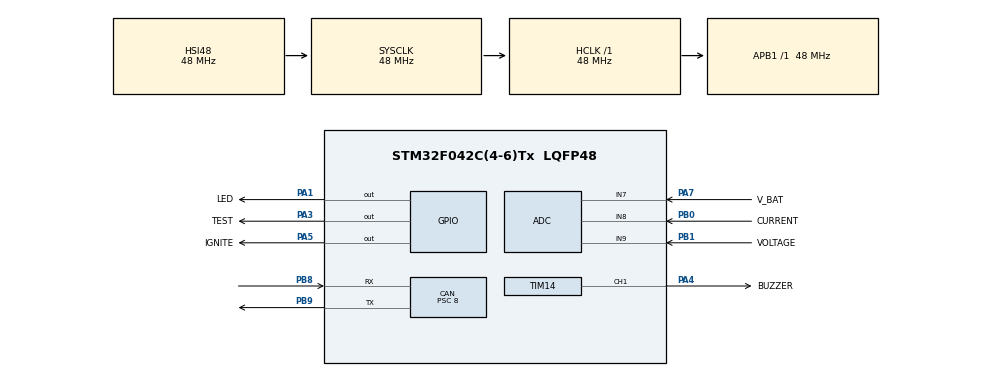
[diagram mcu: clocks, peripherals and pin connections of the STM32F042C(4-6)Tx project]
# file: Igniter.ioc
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ADC.ClockPrescaler=ADC_CLOCK_ASYNC_DIV1
ADC.ContinuousConvMode=ENABLE
ADC.DMAContinuousRequests=ENABLE
ADC.SamplingTime=ADC_SAMPLETIME_1CYCLE_5
CAN.BS1=CAN_BS1_4TQ
CAN.CalculateBaudRate=1000000
CAN.CalculateTimeBit=1000
CAN.CalculateTimeQuantum=166.66666666666666
CAN.Prescaler=8
Dma.ADC.0.Direction=DMA_PERIPH_TO_MEMORY
Dma.ADC.0.Instance=DMA1_Channel1
Dma.ADC.0.MemDataAlignment=DMA_MDATAALIGN_HALFWORD
Dma.ADC.0.MemInc=DMA_MINC_ENABLE
Dma.ADC.0.Mode=DMA_CIRCULAR
Dma.ADC.0.PeriphDataAlignment=DMA_PDATAALIGN_HALFWORD
Dma.ADC.0.PeriphInc=DMA_PINC_DISABLE
Dma.ADC.0.Priority=DMA_PRIORITY_LOW
Dma.Request0=ADC
IWDG.Prescaler=IWDG_PRESCALER_16
IWDG.Reload=4095
IWDG.Window=4095
Mcu.Family=STM32F0
Mcu.Name=STM32F042C(4-6)Tx
Mcu.Package=LQFP48
NVIC.CEC_CAN_IRQn=true\:1\:0\:true\:false\:true\:true\:true\:true
NVIC.DMA1_Channel1_IRQn=true\:1\:0\:true\:false\:true\:false\:true\:true
NVIC.TIM14_IRQn=true\:3\:0\:true\:false\:true\:true\:true\:true
NVIC.TIM2_IRQn=true\:3\:0\:true\:false\:true\:true\:true\:true
PA1.GPIO_Label=LED
PA1.Signal=GPIO_Output
PA3.GPIO_Label=TEST
PA3.Signal=GPIO_Output
PA4.GPIO_Label=BUZZER
PA4.Signal=S_TIM14_CH1
PA5.GPIO_Label=IGNITE
PA5.Signal=GPIO_Output
PA7.GPIO_Label=V_BAT
PA7.Mode=IN7
PA7.Signal=ADC_IN7
PB0.GPIO_Label=CURRENT
PB0.Mode=IN8
PB0.Signal=ADC_IN8
PB1.GPIO_Label=VOLTAGE
PB1.Mode=IN9
PB1.Signal=ADC_IN9
PB8.Mode=CAN_Activate
PB8.Signal=CAN_RX
PB9.Mode=CAN_Activate
PB9.Signal=CAN_TX
ProjectManager.HeapSize=0x200
ProjectManager.StackSize=0x400
ProjectManager.TargetToolchain=STM32CubeIDE
RCC.AHBFreq_Value=48000000
RCC.APB1Freq_Value=48000000
RCC.APB1TimFreq_Value=48000000
RCC.HCLKFreq_Value=48000000
RCC.SYSCLKFreq_VALUE=48000000
RCC.SYSCLKSource=RCC_SYSCLKSOURCE_HSI48
SH.S_TIM14_CH1.0=TIM14_CH1,PWM Generation1 CH1
TIM14.Channel=TIM_CHANNEL_1
TIM14.OC1Preload_PWM=DISABLE
TIM14.Period=2-1
TIM14.Prescaler=48000-1
TIM2.Period=100
TIM2.Prescaler=48000-1
VP_IWDG_VS_IWDG.Mode=IWDG_Activate
VP_TIM14_VS_ClockSourceINT.Mode=Enable_Timer
VP_TIM2_VS_ClockSourceINT.Mode=Internal
board=custom

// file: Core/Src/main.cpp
/* USER CODE BEGIN Header */
/**
  ******************************************************************************
  * @file           : main.c
  * @brief          : Main program body
  ******************************************************************************
  * @attention
  *
  * <h2><center>&copy; Copyright (c) 2020 STMicroelectronics.
  * All rights reserved.</center></h2>
  *
  * This software component is licensed by ST under BSD 3-Clause license,
  * the "License"; You may not use this file except in compliance with the
  * License. You may obtain a copy of the License at:
  *                        opensource.org/licenses/BSD-3-Clause
  *
  ******************************************************************************
  */
/* USER CODE END Header */
#include "main.h"

/* USER CODE BEGIN Includes */

#include <stdlib.h>
#include <cstdio>
#include <limits>
#include "command.hpp"
#include "shared.hpp"
#include "diagnostics.hpp"

/* USER CODE END Includes */

/* USER CODE BEGIN PD */

#define SAMPLE_FREQ 100
#define TLM_FREQ 1
#define IGNITING_TLM_FREQ 10

#define TEST_ENABLE
#define TEST_MS 50

#define IGNITION_MIN_TICK 10000
#define IGNITION_MAX_TICK 30000
#define RETRY_TICK 30000
#define LAUNCH_CONFIRM_KEEP_TICK 15000

#define IGNITER_RESISTANCE_HIZ 20
#define IGNITER_RESISTANCE_MAX 20
#define IGNITER_RESISTANCE_OFFSET 0.6
#define IGNITER_RESISTANCE_FIX (10.0 / 8.5)
#define IGNITER_VOLTAGE_MAX 1.8

//#define LAUNCH_CONFIRM_TIMEOUT_TICK 2000
//#define ALTITUDE_ALIVE_TICK 1000

#define IGNITER_CURRENT_OFFSET -0.25

#define BATTERY_V_MIN 5.0

#define CAN_SEND_TIMEOUT_TICK 50

/* USER CODE END PD */

 ADC_HandleTypeDef hadc;
DMA_HandleTypeDef hdma_adc;

CAN_HandleTypeDef hcan;

IWDG_HandleTypeDef hiwdg;

TIM_HandleTypeDef htim2;
TIM_HandleTypeDef htim14;

/* USER CODE BEGIN PV */

Diagnostics diag(MODULE_IGNITER);

CANChannel can;

CAN_TxHeaderTypeDef   CanTxHeader;
CAN_RxHeaderTypeDef   CanRxHeader;
uint8_t               CanTxData[8];
uint8_t               CanRxData[8];
uint32_t              CanTxMailbox;

uint16_t adc_values[12];

float battery_voltage;
float igniter_current;
float igniter_voltage;
float igniter_resistance;

Shared<float> press_alt;
Shared<float> gps_alt;
Shared<bool> flight_mode = false;
Shared<bool> launch_ok = false;

bool launch_ready = false;
bool launch_condition = false;
bool igniter_connected = false;
bool ignite = false;
bool testing = false;

uint32_t ignited_tick;

float launch_alt_min = 10000;
float launch_alt_std = 20000;
float launch_alt_max = 23000;

enum LaunchCondition {
	SensorUnavailable = 0,
	UnderMin = 1,
	Min_Std = 2,
	Std_Max = 3,
	OverMax = 4,
};

LaunchCondition press_condition = SensorUnavailable;
LaunchCondition gps_condition = SensorUnavailable;

enum State {
	NoLaunch = 0,
	StandBy,
	CountDown,
	Igniting,
	Cancel,
	Complete,
};

State state = NoLaunch;

uint32_t state_tick = 0;

int8_t count;

//enum IgnitionStatus {
//	NotYet = 0,
//	Igniting = 1,
//	Complete = 2,
//};
//
//IgnitionStatus ignition_status = NotYet;

/* USER CODE END PV */

void SystemClock_Config(void);
static void MX_GPIO_Init(void);
static void MX_CAN_Init(void);
static void MX_DMA_Init(void);
static void MX_IWDG_Init(void);
static void MX_ADC_Init(void);
static void MX_TIM2_Init(void);
static void MX_TIM14_Init(void);
/* USER CODE BEGIN PFP */

extern "C" void initialise_monitor_handles(void);
void CAN_Send();
void CAN_Received();

/* USER CODE END PFP */

/* USER CODE BEGIN 0 */

void HAL_TIM_PeriodElapsedCallback(TIM_HandleTypeDef *htim)
{
    if (htim == &htim2) {
    	volatile float voltages[3];
    	for (int i = 0; i < 3; i++) {
    		voltages[i] = (float)adc_values[i] * 3.3 / 4095;

//    		printf("%d %d\n", i, (int)(voltages[i] * 1000));
    	}

    	battery_voltage = voltages[0] * 11.0;
    	igniter_current = (voltages[1] - 3.3 / 2.0) / 0.110 - IGNITER_CURRENT_OFFSET;
    	igniter_voltage = voltages[2] / 16.0;

//    	printf("CI: %c%d.%03d A\n",
//    			igniter_current > 0 ? ' ' : '-', (int)igniter_current, abs((int)(igniter_current * 1000) % 1000));

    	if (ignite) {
    		igniter_resistance = battery_voltage / igniter_current;
    	}
    	else {
    		if (voltages[2] >= IGNITER_VOLTAGE_MAX)
    	    		igniter_resistance = 1E9;
    	    else igniter_resistance = (470 * igniter_voltage / (3.3 - igniter_voltage) - IGNITER_RESISTANCE_OFFSET) * IGNITER_RESISTANCE_FIX;
    	}

    	igniter_connected = igniter_resistance < IGNITER_RESISTANCE_MAX;

    	if (flight_mode.isValid()) {
    		launch_ready = launch_ok && flight_mode;
    	}
    	else {
    		launch_ready = false;
    	}

    	if (press_alt.isValid()) {
    		if      (press_alt < launch_alt_min) press_condition = UnderMin;
    		else if (press_alt < launch_alt_std) press_condition = Min_Std;
    		else if (press_alt < launch_alt_max) press_condition = Std_Max;
    		else                                 press_condition = OverMax;
    	}
    	else {
    		press_condition = SensorUnavailable;
    	}

    	if (gps_alt.isValid()) {
    		if      (gps_alt < launch_alt_min) gps_condition = UnderMin;
    		else if (gps_alt < launch_alt_std) gps_condition = Min_Std;
    		else if (gps_alt < launch_alt_max) gps_condition = Std_Max;
    		else                               gps_condition = OverMax;
    	}
    	else {
    		gps_condition = SensorUnavailable;
    	}

    	launch_condition = false;

    	if (press_condition == SensorUnavailable && gps_condition == Std_Max) {
    		launch_condition = true;
    	}
    	if (gps_condition == SensorUnavailable && press_condition == Std_Max) {
    		launch_condition = true;
    	}

    	if (press_condition >= Std_Max && gps_condition >= Std_Max) {
    		launch_condition = true;
    	}

    	if (press_condition == OverMax && gps_condition >= Min_Std) {
    		launch_condition = true;
    	}
    	if (gps_condition == OverMax && press_condition >= Min_Std) {
    		launch_condition = true;
    	}

#ifndef DEBUG
	  HAL_IWDG_Refresh(&hiwdg);
#endif
    }
//    else if (htim == &htim14) {
//
//    }
}

void CAN_Received() {
	uint32_t raw;
	int32_t mid = can.rx.getDiag(raw);
	if (mid >= 0) diag.update(mid, raw, HAL_GetTick());

//	printf("%c\n", can.rx.id);

	switch (can.rx.id) {

	case 'm':
		launch_ok.setIf('N', can.rx, false);
		launch_ok.setIf('A', can.rx, true);
//		printf("MODE\n", can.rx.id);
		break;

	case 'F':
		flight_mode.setIf('S', can.rx, false);
		flight_mode.setIf('F', can.rx, true);
//		printf("FLIGHT\n", can.rx.id);
		break;

	case 'P':
		press_alt.set('P', can.rx);
		gps_alt.set('H', can.rx);
		break;
	}
}

void ChangeState(State s) {
	state = s;
	state_tick = HAL_GetTick();
}

/* USER CODE END 0 */

int main(void)
{
  /* USER CODE BEGIN 1 */
#ifdef DEBUG
  initialise_monitor_handles();
#endif
  /* USER CODE END 1 */

  /* MCU Configuration--------------------------------------------------------*/

  /* Reset of all peripherals, Initializes the Flash interface and the Systick. */
  HAL_Init();

  /* Configure the system clock */
  SystemClock_Config();

  /* Initialize all configured peripherals */
  MX_GPIO_Init();
  MX_CAN_Init();
  MX_DMA_Init();
  MX_IWDG_Init();
  MX_ADC_Init();
  MX_TIM2_Init();
  MX_TIM14_Init();
  /* USER CODE BEGIN 2 */

#ifdef DEBUG
  printf("Start\n");
#endif

  HAL_GPIO_WritePin(LED_GPIO_Port, LED_Pin, GPIO_PIN_RESET);

  HAL_ADCEx_Calibration_Start(&hadc);
  HAL_ADC_Start_DMA(&hadc, (uint32_t*)adc_values, 12);

  HAL_Delay(770);

  HAL_TIM_Base_Start_IT(&htim2);
  HAL_TIM_PWM_Start(&htim14, TIM_CHANNEL_1);
  __HAL_TIM_SET_COMPARE(&htim14, TIM_CHANNEL_1, 0);

  HAL_GPIO_WritePin(LED_GPIO_Port, LED_Pin, GPIO_PIN_SET);

  /* USER CODE END 2 */

  /* Infinite loop */
  while (1)
  {

	  uint32_t passed = HAL_GetTick() - state_tick;

	  ignite = false;
	  count = passed / 1000;

	  switch (state) {

	  case NoLaunch:
		  if (launch_ready) ChangeState(StandBy);
		  break;

	  case StandBy:
		  if (launch_ready && launch_condition) ChangeState(CountDown);
		  break;

	  case CountDown:
		  if (!launch_condition) ChangeState(StandBy);
		  else if (passed > LAUNCH_CONFIRM_KEEP_TICK)  ChangeState(Igniting);

		  break;

	  case Igniting:
		  ignite = true;

		  if (!launch_condition) ChangeState(Cancel);
		  else if (passed > IGNITION_MAX_TICK) {
			  ChangeState(Cancel);
		  }
		  else if (passed > IGNITION_MIN_TICK &&
						  igniter_resistance > IGNITER_RESISTANCE_HIZ) {
			  ChangeState(Complete);
		  }

		  break;

	  case Cancel:
		  if (launch_ready && launch_condition && passed > RETRY_TICK) {
			  ChangeState(CountDown);
		  }

		  break;

	  case Complete:

		  break;
	  }

	  if (!launch_ready) {
		  state = NoLaunch;
	  }

	  if (ignite) {
		  __HAL_TIM_SET_COMPARE(&htim14, TIM_CHANNEL_1, 1);
		  HAL_GPIO_WritePin(IGNITE_GPIO_Port, IGNITE_Pin, GPIO_PIN_SET);
	  }
	  else {
		  __HAL_TIM_SET_COMPARE(&htim14, TIM_CHANNEL_1, 0);
		  HAL_GPIO_WritePin(IGNITE_GPIO_Port, IGNITE_Pin, GPIO_PIN_RESET);

#ifdef TEST_ENABLE
		  HAL_GPIO_WritePin(TEST_GPIO_Port, TEST_Pin, GPIO_PIN_SET);
//		  ignite = true;
#endif
		  HAL_Delay(TEST_MS);
	  }

	  diag.setStatus(STATUS_0, battery_voltage < BATTERY_V_MIN);
	  diag.setStatus(STATUS_1, !igniter_connected);
	  diag.setStatus(STATUS_2, !launch_ready);
	  diag.setStatus(STATUS_3, !gps_alt.isValid() || !press_alt.isValid());

	  Command tlm('I', 0, 0, 3);

	  tlm.entries[0].set('V', (float)battery_voltage);
	  tlm.entries[1].set('C', (float)igniter_current);
	  tlm.entries[2].set('R', (float)igniter_resistance);

	  can.tx.push(tlm);

	  CAN_Send();

	  Command mode('M', 0, 0, 3);

	  mode.entries[0].set(launch_ok ? 'A' : 'N');
//	  mode.entries[1].set(launch_condition ? 'F' : 'S');
	  mode.entries[1].set('C', press_condition, gps_condition, state, count);
	  mode.entries[2].set('0' + MODULE_IGNITER_N, (uint32_t)diag.encode());

	  can.tx.push(mode);

	  CAN_Send();

#ifdef DEBUG

		printf("Vb: %d.%03d V\n", (int)battery_voltage, abs((int)(battery_voltage * 1000) % 1000));
		printf("CI: %c%d.%03d A\n", igniter_current > 0 ? ' ' : '-', (int)igniter_current, abs((int)(igniter_current * 1000) % 1000));
		printf("VI: 0.%06d V\n",  abs((int)(igniter_voltage * 1000000) % 1000000));
		printf("RI: %d.%03d Ohm\n", (int)igniter_resistance, abs((int)(igniter_resistance * 1000) % 1000));
		printf("press: %d\n", press_condition);
		printf("gps: %d\n", gps_condition);
		printf("state: %d\n", state);
		printf("count: %d\n", count);

//		diag.printSummary();
#endif

		HAL_GPIO_WritePin(TEST_GPIO_Port, TEST_Pin, GPIO_PIN_RESET);
//		HAL_GPIO_WritePin(IGNITE_GPIO_Port, IGNITE_Pin, GPIO_PIN_RESET);
//		ignite = false;

    	HAL_GPIO_TogglePin(LED_GPIO_Port, LED_Pin);

      if (ignite) {
      	  HAL_Delay(1000 / IGNITING_TLM_FREQ);
      }
      else {
    	  HAL_Delay(1000 / TLM_FREQ - TEST_MS);
      }

  }
}

void SystemClock_Config(void)
{
  RCC_OscInitTypeDef RCC_OscInitStruct = {0};
  RCC_ClkInitTypeDef RCC_ClkInitStruct = {0};

  /** Initializes the RCC Oscillators according to the specified parameters
  * in the RCC_OscInitTypeDef structure.
  */
  RCC_OscInitStruct.OscillatorType = RCC_OSCILLATORTYPE_HSI14|RCC_OSCILLATORTYPE_HSI48
                              |RCC_OSCILLATORTYPE_LSI;
  RCC_OscInitStruct.HSI48State = RCC_HSI48_ON;
  RCC_OscInitStruct.HSI14State = RCC_HSI14_ON;
  RCC_OscInitStruct.HSI14CalibrationValue = 16;
  RCC_OscInitStruct.LSIState = RCC_LSI_ON;
  RCC_OscInitStruct.PLL.PLLState = RCC_PLL_NONE;
  if (HAL_RCC_OscConfig(&RCC_OscInitStruct) != HAL_OK)
  {
    Error_Handler();
  }

  /** Initializes the CPU, AHB and APB buses clocks
  */
  RCC_ClkInitStruct.ClockType = RCC_CLOCKTYPE_HCLK|RCC_CLOCKTYPE_SYSCLK
                              |RCC_CLOCKTYPE_PCLK1;
  RCC_ClkInitStruct.SYSCLKSource = RCC_SYSCLKSOURCE_HSI48;
  RCC_ClkInitStruct.AHBCLKDivider = RCC_SYSCLK_DIV1;
  RCC_ClkInitStruct.APB1CLKDivider = RCC_HCLK_DIV1;

  if (HAL_RCC_ClockConfig(&RCC_ClkInitStruct, FLASH_LATENCY_1) != HAL_OK)
  {
    Error_Handler();
  }
}

static void MX_ADC_Init(void)
{

  ADC_ChannelConfTypeDef sConfig = {0};

  /** Configure the global features of the ADC (Clock, Resolution, Data Alignment and number of conversion)
  */
  hadc.Instance = ADC1;
  hadc.Init.ClockPrescaler = ADC_CLOCK_ASYNC_DIV1;
  hadc.Init.Resolution = ADC_RESOLUTION_12B;
  hadc.Init.DataAlign = ADC_DATAALIGN_RIGHT;
  hadc.Init.ScanConvMode = ADC_SCAN_DIRECTION_FORWARD;
  hadc.Init.EOCSelection = ADC_EOC_SINGLE_CONV;
  hadc.Init.LowPowerAutoWait = DISABLE;
  hadc.Init.LowPowerAutoPowerOff = DISABLE;
  hadc.Init.ContinuousConvMode = ENABLE;
  hadc.Init.DiscontinuousConvMode = DISABLE;
  hadc.Init.ExternalTrigConv = ADC_SOFTWARE_START;
  hadc.Init.ExternalTrigConvEdge = ADC_EXTERNALTRIGCONVEDGE_NONE;
  hadc.Init.DMAContinuousRequests = ENABLE;
  hadc.Init.Overrun = ADC_OVR_DATA_PRESERVED;
  if (HAL_ADC_Init(&hadc) != HAL_OK)
  {
    Error_Handler();
  }

  /** Configure for the selected ADC regular channel to be converted.
  */
  sConfig.Channel = ADC_CHANNEL_7;
  if (HAL_ADC_ConfigChannel(&hadc, &sConfig) != HAL_OK)
  {
    Error_Handler();
  }

  /** Configure for the selected ADC regular channel to be converted.
  */
  sConfig.Channel = ADC_CHANNEL_8;
  if (HAL_ADC_ConfigChannel(&hadc, &sConfig) != HAL_OK)
  {
    Error_Handler();
  }

  /** Configure for the selected ADC regular channel to be converted.
  */
  sConfig.Channel = ADC_CHANNEL_9;
  if (HAL_ADC_ConfigChannel(&hadc, &sConfig) != HAL_OK)
  {
    Error_Handler();
  }

}

static void MX_CAN_Init(void)
{

  hcan.Instance = CAN;
  hcan.Init.Prescaler = 24;
  hcan.Init.Mode = CAN_MODE_NORMAL;
  hcan.Init.SyncJumpWidth = CAN_SJW_1TQ;
  hcan.Init.TimeSeg1 = CAN_BS1_12TQ;
  hcan.Init.TimeSeg2 = CAN_BS2_3TQ;
  hcan.Init.TimeTriggeredMode = DISABLE;
  hcan.Init.AutoBusOff = DISABLE;
  hcan.Init.AutoWakeUp = DISABLE;
  hcan.Init.AutoRetransmission = ENABLE;
  hcan.Init.ReceiveFifoLocked = DISABLE;
  hcan.Init.TransmitFifoPriority = DISABLE;
  if (HAL_CAN_Init(&hcan) != HAL_OK)
  {
    Error_Handler();
  }
  /* USER CODE BEGIN CAN_Init 2 */

  CAN_FilterTypeDef filter0;
  uint32_t fId0   =  0x000 << 21;
  uint32_t fMask0 = (0x100 << 21) | 0x4;
  filter0.FilterIdHigh         = fId0 >> 16;
  filter0.FilterIdLow          = fId0;
  filter0.FilterMaskIdHigh     = fMask0 >> 16;
  filter0.FilterMaskIdLow      = fMask0;
  filter0.FilterScale          = CAN_FILTERSCALE_32BIT;
  filter0.FilterFIFOAssignment = CAN_FILTER_FIFO0;
  filter0.FilterBank           = 0;
  filter0.FilterMode           = CAN_FILTERMODE_IDMASK;
  filter0.FilterActivation     = ENABLE;
  if (HAL_CAN_ConfigFilter(&hcan, &filter0) != HAL_OK)
  {
	Error_Handler();
  }

  CAN_FilterTypeDef filter1;
  uint32_t fId1   =  0x100 << 21;
  uint32_t fMask1 = (0x100 << 21) | 0x4;
  filter1.FilterIdHigh         = fId1 >> 16;
  filter1.FilterIdLow          = fId1;
  filter1.FilterMaskIdHigh     = fMask1 >> 16;
  filter1.FilterMaskIdLow      = fMask1;
  filter1.FilterScale          = CAN_FILTERSCALE_32BIT;
  filter1.FilterFIFOAssignment = CAN_FILTER_FIFO1;
  filter1.FilterBank           = 2;
  filter1.FilterMode           = CAN_FILTERMODE_IDMASK;
  filter1.FilterActivation     = ENABLE;
  if (HAL_CAN_ConfigFilter(&hcan, &filter1) != HAL_OK)
  {
	Error_Handler();
  }

  if (HAL_CAN_Start(&hcan) != HAL_OK)
  {
    /* Start Error */
    Error_Handler();
  }

  if (HAL_CAN_ActivateNotification(&hcan, CAN_IT_RX_FIFO0_MSG_PENDING | CAN_IT_RX_FIFO1_MSG_PENDING) != HAL_OK)
  {
    /* Notification Error */
    Error_Handler();
  }

  CanTxHeader.RTR   = CAN_RTR_DATA;
  CanTxHeader.IDE   = CAN_ID_STD;
  CanTxHeader.TransmitGlobalTime = DISABLE;

  /* USER CODE END CAN_Init 2 */

}

static void MX_IWDG_Init(void)
{

  /* USER CODE BEGIN IWDG_Init 0 */

#ifdef DEBUG
  return;
#endif

  /* USER CODE END IWDG_Init 0 */

  hiwdg.Instance = IWDG;
  hiwdg.Init.Prescaler = IWDG_PRESCALER_16;
  hiwdg.Init.Window = 4095;
  hiwdg.Init.Reload = 4095;
  if (HAL_IWDG_Init(&hiwdg) != HAL_OK)
  {
    Error_Handler();
  }

}

static void MX_TIM2_Init(void)
{

  TIM_ClockConfigTypeDef sClockSourceConfig = {0};
  TIM_MasterConfigTypeDef sMasterConfig = {0};

  htim2.Instance = TIM2;
  htim2.Init.Prescaler = 48000 - 1;
  htim2.Init.CounterMode = TIM_COUNTERMODE_UP;
  htim2.Init.Period = 1000 / SAMPLE_FREQ - 1;
  htim2.Init.ClockDivision = TIM_CLOCKDIVISION_DIV1;
  htim2.Init.AutoReloadPreload = TIM_AUTORELOAD_PRELOAD_DISABLE;
  if (HAL_TIM_Base_Init(&htim2) != HAL_OK)
  {
    Error_Handler();
  }
  sClockSourceConfig.ClockSource = TIM_CLOCKSOURCE_INTERNAL;
  if (HAL_TIM_ConfigClockSource(&htim2, &sClockSourceConfig) != HAL_OK)
  {
    Error_Handler();
  }
  sMasterConfig.MasterOutputTrigger = TIM_TRGO_RESET;
  sMasterConfig.MasterSlaveMode = TIM_MASTERSLAVEMODE_DISABLE;
  if (HAL_TIMEx_MasterConfigSynchronization(&htim2, &sMasterConfig) != HAL_OK)
  {
    Error_Handler();
  }

}

static void MX_TIM14_Init(void)
{

	TIM_OC_InitTypeDef sConfigOC = {0};

	htim14.Instance = TIM14;
	htim14.Init.Prescaler = 24000-1;
	htim14.Init.CounterMode = TIM_COUNTERMODE_UP;
	htim14.Init.Period = 2-1;
	htim14.Init.ClockDivision = TIM_CLOCKDIVISION_DIV1;
	htim14.Init.AutoReloadPreload = TIM_AUTORELOAD_PRELOAD_DISABLE;
	if (HAL_TIM_Base_Init(&htim14) != HAL_OK)
	{
		Error_Handler();
	}
	if (HAL_TIM_PWM_Init(&htim14) != HAL_OK)
	{
		Error_Handler();
	}
	sConfigOC.OCMode = TIM_OCMODE_PWM1;
	sConfigOC.Pulse = 0;
	sConfigOC.OCPolarity = TIM_OCPOLARITY_HIGH;
	sConfigOC.OCFastMode = TIM_OCFAST_DISABLE;
	if (HAL_TIM_PWM_ConfigChannel(&htim14, &sConfigOC, TIM_CHANNEL_1) != HAL_OK)
	{
		Error_Handler();
	}
	__HAL_TIM_DISABLE_OCxPRELOAD(&htim14, TIM_CHANNEL_1);
	HAL_TIM_MspPostInit(&htim14);

}

static void MX_DMA_Init(void)
{

  /* DMA controller clock enable */
  __HAL_RCC_DMA1_CLK_ENABLE();

  /* DMA interrupt init */
  /* DMA1_Channel1_IRQn interrupt configuration */
  HAL_NVIC_SetPriority(DMA1_Channel1_IRQn, 1, 0);
  HAL_NVIC_EnableIRQ(DMA1_Channel1_IRQn);

}

static void MX_GPIO_Init(void)
{
	GPIO_InitTypeDef GPIO_InitStruct = {0};

	/* GPIO Ports Clock Enable */
	__HAL_RCC_GPIOA_CLK_ENABLE();
	__HAL_RCC_GPIOB_CLK_ENABLE();

	/*Configure GPIO pin Output Level */
	HAL_GPIO_WritePin(GPIOA, LED_Pin|TEST_Pin|IGNITE_Pin, GPIO_PIN_RESET);

	/*Configure GPIO pins : LED_Pin TEST_Pin BUZZER_Pin IGNITE_Pin */
	GPIO_InitStruct.Pin = LED_Pin|TEST_Pin|IGNITE_Pin;
	GPIO_InitStruct.Mode = GPIO_MODE_OUTPUT_PP;
	GPIO_InitStruct.Pull = GPIO_NOPULL;
	GPIO_InitStruct.Speed = GPIO_SPEED_FREQ_LOW;
	HAL_GPIO_Init(GPIOA, &GPIO_InitStruct);
}

void HAL_CAN_RxFifo0MsgPendingCallback(CAN_HandleTypeDef *hcan)
{
	/* Get RX message */
	if (HAL_CAN_GetRxMessage(hcan, CAN_RX_FIFO0, &CanRxHeader, CanRxData) != HAL_OK) {
		/* Reception Error */
		Error_Handler();
	}

	if (can.receive(CanRxHeader.StdId, CanRxData, CanRxHeader.DLC)) {
		CAN_Received();
	}
}
void HAL_CAN_RxFifo1MsgPendingCallback(CAN_HandleTypeDef *hcan)
{
	/* Get RX message */
	if (HAL_CAN_GetRxMessage(hcan, CAN_RX_FIFO1, &CanRxHeader, CanRxData) != HAL_OK) {
		/* Reception Error */
		Error_Handler();
	}

	if (can.receive(CanRxHeader.StdId, CanRxData, CanRxHeader.DLC)) {
		CAN_Received();
	}
}

/* USER CODE BEGIN 4 */

void CAN_Send() {
	while (true) {
		uint16_t std_id;
		uint8_t len;

		volatile uint32_t tick = HAL_GetTick();

		while (can.isReceiving()) {
			if (HAL_GetTick() - tick >= CAN_SEND_TIMEOUT_TICK) {
				can.cancelReceiving();
#ifdef DEBUG
				printf("BUSY\n");
#endif
			}
		}

		tick = HAL_GetTick();

		while (
//				HAL_GetTick() - tick <= 10 ||
				HAL_CAN_GetTxMailboxesFreeLevel(&hcan) != 3) {
			if (HAL_GetTick() - tick >= CAN_SEND_TIMEOUT_TICK) {
				HAL_CAN_AbortTxRequest(&hcan, CanTxMailbox);
				can.cancelSending();
#ifdef DEBUG
				printf("TIMEOUT\n");
#endif
				return;
			}
		}

		uint8_t remains = can.send(std_id, CanTxData, len);

		if (len == 0) return;

		CanTxHeader.StdId = std_id;
		CanTxHeader.DLC = len;

		if (HAL_CAN_AddTxMessage(&hcan, &CanTxHeader, CanTxData, &CanTxMailbox) != HAL_OK) {
			Error_Handler();
		}

//	#ifdef DEBUG
//		printf("Send %c(%x), %d: %c(%x) %x %x %x %x \n",
//				CanTxHeader.StdId, CanTxHeader.StdId, CanTxHeader.DLC,
//				CanTxData[0], CanTxData[0], CanTxData[1], CanTxData[2], CanTxData[3], CanTxData[4]);
//	#endif

		if (remains == 0) break;
	}
}

/* USER CODE END 4 */

void Error_Handler(void)
{
}
